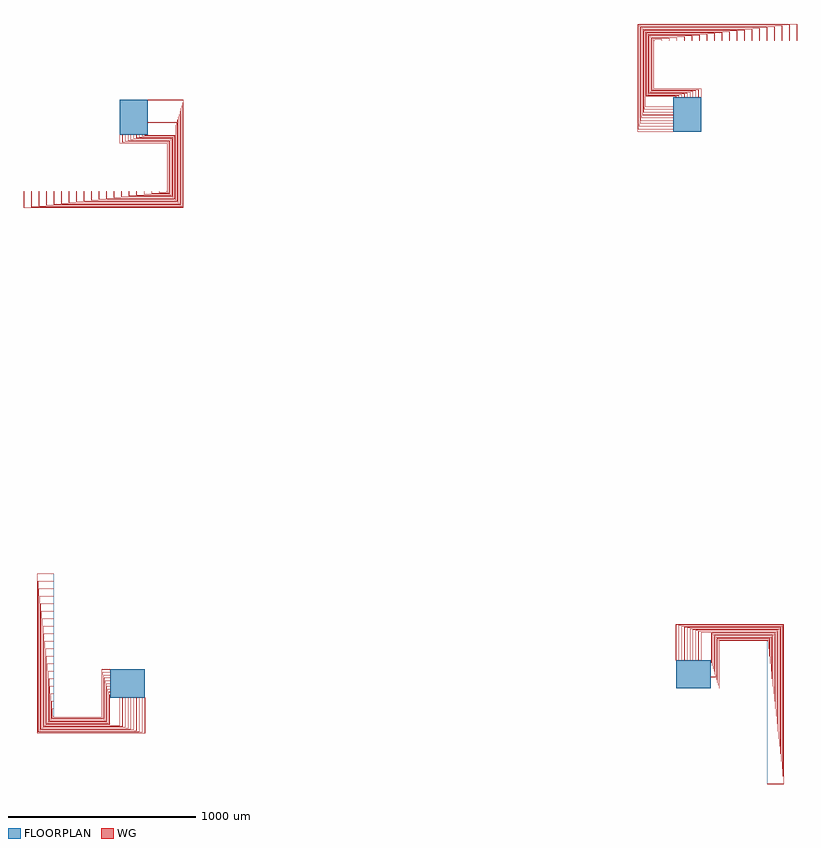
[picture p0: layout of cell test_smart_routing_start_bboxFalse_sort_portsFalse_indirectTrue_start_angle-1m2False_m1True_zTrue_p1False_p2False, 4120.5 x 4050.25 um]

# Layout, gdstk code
import gdstk
lib = gdstk.Library(unit=1e-6, precision=1e-09)
def R(c, l, rs):  # rectangles x0, y0, x1, y1
    for r in rs: c.add(gdstk.rectangle(r[:2], r[2:], *l))
def P(c, l, *ps):  # polygons
    for p in ps: c.add(gdstk.Polygon(p, *l))
WG = (1, 0)
FLOORPLAN = (10, 0)

test_smart_routing_start = lib.new_cell('test_smart_routing_start_bboxFalse_sort_portsFalse_indirectTrue_start_angle-1m2False_m1True_zTrue_p1False_p2False')
P(test_smart_routing_start, WG, [(-404.5,-204.75),(-404.5,-199.75),(-400,-199.75),(-400,-200.25),(-404,-200.25),(-404,-204.25),(-145,-204.25),(-145,50.25),(-100,50.25),(-100,49.75),(-144.5,49.75),(-144.5,-204.75)],
  [(-409,-209.25),(-409,-159.75),(-400,-159.75),(-400,-160.25),(-408.5,-160.25),(-408.5,-208.75),(-140.5,-208.75),(-140.5,35.25),(-100,35.25),(-100,34.75),(-140,34.75),(-140,-209.25)],
  [(-413.5,-213.75),(-413.5,-119.75),(-400,-119.75),(-400,-120.25),(-413,-120.25),(-413,-213.25),(-136,-213.25),(-136,20.25),(-100,20.25),(-100,19.75),(-135.5,19.75),(-135.5,-213.75)],
  [(-418,-218.25),(-418,-79.75),(-400,-79.75),(-400,-80.25),(-417.5,-80.25),(-417.5,-217.75),(-131.5,-217.75),(-131.5,5.25),(-100,5.25),(-100,4.75),(-131,4.75),(-131,-218.25)],
  [(-422.5,-222.75),(-422.5,-39.75),(-400,-39.75),(-400,-40.25),(-422,-40.25),(-422,-222.25),(-127,-222.25),(-127,-9.75),(-100,-9.75),(-100,-10.25),(-126.5,-10.25),(-126.5,-222.75)],
  [(-427,-227.25),(-427,0.25),(-400,0.25),(-400,-0.25),(-426.5,-0.25),(-426.5,-226.75),(-122.5,-226.75),(-122.5,-24.75),(-100,-24.75),(-100,-25.25),(-122,-25.25),(-122,-227.25)],
  [(-431.5,-231.75),(-431.5,40.25),(-400,40.25),(-400,39.75),(-431,39.75),(-431,-231.25),(-118,-231.25),(-118,-39.75),(-100,-39.75),(-100,-40.25),(-117.5,-40.25),(-117.5,-231.75)],
  [(-436,-236.25),(-436,80.25),(-400,80.25),(-400,79.75),(-435.5,79.75),(-435.5,-235.75),(-113.5,-235.75),(-113.5,-54.75),(-100,-54.75),(-100,-55.25),(-113,-55.25),(-113,-236.25)],
  [(-440.5,-240.75),(-440.5,120.25),(-400,120.25),(-400,119.75),(-440,119.75),(-440,-240.25),(-109,-240.25),(-109,-69.75),(-100,-69.75),(-100,-70.25),(-108.5,-70.25),(-108.5,-240.75)],
  [(-445,-245.25),(-445,160.25),(-400,160.25),(-400,159.75),(-444.5,159.75),(-444.5,-244.75),(-104.5,-244.75),(-104.5,-84.75),(-100,-84.75),(-100,-85.25),(-104,-85.25),(-104,-245.25)],
  [(-449.5,-249.75),(-449.5,200.25),(-400,200.25),(-400,199.75),(-449,199.75),(-449,-249.25),(-50.25,-249.25),(-50.25,-100),(-49.75,-100),(-49.75,-249.75)],
  [(-454,-254.25),(-454,240.25),(-400,240.25),(-400,239.75),(-453.5,239.75),(-453.5,-253.75),(-35.25,-253.75),(-35.25,-100),(-34.75,-100),(-34.75,-254.25)],
  [(-458.5,-258.75),(-458.5,280.25),(-400,280.25),(-400,279.75),(-458,279.75),(-458,-258.25),(-20.25,-258.25),(-20.25,-100),(-19.75,-100),(-19.75,-258.75)],
  [(-463,-263.25),(-463,320.25),(-400,320.25),(-400,319.75),(-462.5,319.75),(-462.5,-262.75),(-5.25,-262.75),(-5.25,-100),(-4.75,-100),(-4.75,-263.25)],
  [(-467.5,-267.75),(-467.5,360.25),(-400,360.25),(-400,359.75),(-467,359.75),(-467,-267.25),(9.75,-267.25),(9.75,-100),(10.25,-100),(10.25,-267.75)],
  [(-472,-272.25),(-472,400.25),(-400,400.25),(-400,399.75),(-471.5,399.75),(-471.5,-271.75),(24.75,-271.75),(24.75,-100),(25.25,-100),(25.25,-272.25)],
  [(-476.5,-276.75),(-476.5,440.25),(-400,440.25),(-400,439.75),(-476,439.75),(-476,-276.25),(39.75,-276.25),(39.75,-100),(40.25,-100),(40.25,-276.75)],
  [(-481,-281.25),(-481,480.25),(-400,480.25),(-400,479.75),(-480.5,479.75),(-480.5,-280.75),(54.75,-280.75),(54.75,-100),(55.25,-100),(55.25,-281.25)],
  [(-485.5,-285.75),(-485.5,520.25),(-400,520.25),(-400,519.75),(-485,519.75),(-485,-285.25),(69.75,-285.25),(69.75,-100),(70.25,-100),(70.25,-285.75)],
  [(-490,-290.25),(-490,560.25),(-400,560.25),(-400,559.75),(-489.5,559.75),(-489.5,-289.75),(84.75,-289.75),(84.75,-100),(85.25,-100),(85.25,-290.25)],
  [(199.75,2595.5),(199.75,2600),(200.25,2600),(200.25,2596),(204.25,2596),(204.25,2855),(-50.25,2855),(-50.25,2900),(-49.75,2900),(-49.75,2855.5),(204.75,2855.5),(204.75,2595.5)],
  [(159.75,2591),(159.75,2600),(160.25,2600),(160.25,2591.5),(208.75,2591.5),(208.75,2859.5),(-35.25,2859.5),(-35.25,2900),(-34.75,2900),(-34.75,2860),(209.25,2860),(209.25,2591)],
  [(119.75,2586.5),(119.75,2600),(120.25,2600),(120.25,2587),(213.25,2587),(213.25,2864),(-20.25,2864),(-20.25,2900),(-19.75,2900),(-19.75,2864.5),(213.75,2864.5),(213.75,2586.5)],
  [(79.75,2582),(79.75,2600),(80.25,2600),(80.25,2582.5),(217.75,2582.5),(217.75,2868.5),(-5.25,2868.5),(-5.25,2900),(-4.75,2900),(-4.75,2869),(218.25,2869),(218.25,2582)],
  [(39.75,2577.5),(39.75,2600),(40.25,2600),(40.25,2578),(222.25,2578),(222.25,2873),(9.75,2873),(9.75,2900),(10.25,2900),(10.25,2873.5),(222.75,2873.5),(222.75,2577.5)],
  [(-0.25,2573),(-0.25,2600),(0.25,2600),(0.25,2573.5),(226.75,2573.5),(226.75,2877.5),(24.75,2877.5),(24.75,2900),(25.25,2900),(25.25,2878),(227.25,2878),(227.25,2573)],
  [(-40.25,2568.5),(-40.25,2600),(-39.75,2600),(-39.75,2569),(231.25,2569),(231.25,2882),(39.75,2882),(39.75,2900),(40.25,2900),(40.25,2882.5),(231.75,2882.5),(231.75,2568.5)],
  [(-80.25,2564),(-80.25,2600),(-79.75,2600),(-79.75,2564.5),(235.75,2564.5),(235.75,2886.5),(54.75,2886.5),(54.75,2900),(55.25,2900),(55.25,2887),(236.25,2887),(236.25,2564)],
  [(-120.25,2559.5),(-120.25,2600),(-119.75,2600),(-119.75,2560),(240.25,2560),(240.25,2891),(69.75,2891),(69.75,2900),(70.25,2900),(70.25,2891.5),(240.75,2891.5),(240.75,2559.5)],
  [(-160.25,2555),(-160.25,2600),(-159.75,2600),(-159.75,2555.5),(244.75,2555.5),(244.75,2895.5),(84.75,2895.5),(84.75,2900),(85.25,2900),(85.25,2896),(245.25,2896),(245.25,2555)],
  [(-200.25,2550.5),(-200.25,2600),(-199.75,2600),(-199.75,2551),(249.25,2551),(249.25,2949.75),(100,2949.75),(100,2950.25),(249.75,2950.25),(249.75,2550.5)],
  [(-240.25,2546),(-240.25,2600),(-239.75,2600),(-239.75,2546.5),(253.75,2546.5),(253.75,2964.75),(100,2964.75),(100,2965.25),(254.25,2965.25),(254.25,2546)],
  [(-280.25,2541.5),(-280.25,2600),(-279.75,2600),(-279.75,2542),(258.25,2542),(258.25,2979.75),(100,2979.75),(100,2980.25),(258.75,2980.25),(258.75,2541.5)],
  [(-320.25,2537),(-320.25,2600),(-319.75,2600),(-319.75,2537.5),(262.75,2537.5),(262.75,2994.75),(100,2994.75),(100,2995.25),(263.25,2995.25),(263.25,2537)],
  [(-360.25,2532.5),(-360.25,2600),(-359.75,2600),(-359.75,2533),(267.25,2533),(267.25,3009.75),(100,3009.75),(100,3010.25),(267.75,3010.25),(267.75,2532.5)],
  [(-400.25,2528),(-400.25,2600),(-399.75,2600),(-399.75,2528.5),(271.75,2528.5),(271.75,3024.75),(100,3024.75),(100,3025.25),(272.25,3025.25),(272.25,2528)],
  [(-440.25,2523.5),(-440.25,2600),(-439.75,2600),(-439.75,2524),(276.25,2524),(276.25,3039.75),(100,3039.75),(100,3040.25),(276.75,3040.25),(276.75,2523.5)],
  [(-480.25,2519),(-480.25,2600),(-479.75,2600),(-479.75,2519.5),(280.75,2519.5),(280.75,3054.75),(100,3054.75),(100,3055.25),(281.25,3055.25),(281.25,2519)],
  [(-520.25,2514.5),(-520.25,2600),(-519.75,2600),(-519.75,2515),(285.25,2515),(285.25,3069.75),(100,3069.75),(100,3070.25),(285.75,3070.25),(285.75,2514.5)],
  [(-560.25,2510),(-560.25,2600),(-559.75,2600),(-559.75,2510.5),(289.75,2510.5),(289.75,3084.75),(100,3084.75),(100,3085.25),(290.25,3085.25),(290.25,2510)],
  [(3100,-50.25),(3100,-49.75),(3144.5,-49.75),(3144.5,204.75),(3404.5,204.75),(3404.5,199.75),(3400,199.75),(3400,200.25),(3404,200.25),(3404,204.25),(3145,204.25),(3145,-50.25)],
  [(3100,-35.25),(3100,-34.75),(3140,-34.75),(3140,209.25),(3409,209.25),(3409,159.75),(3400,159.75),(3400,160.25),(3408.5,160.25),(3408.5,208.75),(3140.5,208.75),(3140.5,-35.25)],
  [(3100,-20.25),(3100,-19.75),(3135.5,-19.75),(3135.5,213.75),(3413.5,213.75),(3413.5,119.75),(3400,119.75),(3400,120.25),(3413,120.25),(3413,213.25),(3136,213.25),(3136,-20.25)],
  [(3100,-5.25),(3100,-4.75),(3131,-4.75),(3131,218.25),(3418,218.25),(3418,79.75),(3400,79.75),(3400,80.25),(3417.5,80.25),(3417.5,217.75),(3131.5,217.75),(3131.5,-5.25)],
  [(3100,9.75),(3100,10.25),(3126.5,10.25),(3126.5,222.75),(3422.5,222.75),(3422.5,39.75),(3400,39.75),(3400,40.25),(3422,40.25),(3422,222.25),(3127,222.25),(3127,9.75)],
  [(3400,-0.25),(3400,0.25),(3426.5,0.25),(3426.5,226.75),(3122.5,226.75),(3122.5,24.75),(3100,24.75),(3100,25.25),(3122,25.25),(3122,227.25),(3427,227.25),(3427,-0.25)],
  [(3400,-40.25),(3400,-39.75),(3431,-39.75),(3431,231.25),(3118,231.25),(3118,39.75),(3100,39.75),(3100,40.25),(3117.5,40.25),(3117.5,231.75),(3431.5,231.75),(3431.5,-40.25)],
  [(3400,-80.25),(3400,-79.75),(3435.5,-79.75),(3435.5,235.75),(3113.5,235.75),(3113.5,54.75),(3100,54.75),(3100,55.25),(3113,55.25),(3113,236.25),(3436,236.25),(3436,-80.25)],
  [(3400,-120.25),(3400,-119.75),(3440,-119.75),(3440,240.25),(3109,240.25),(3109,69.75),(3100,69.75),(3100,70.25),(3108.5,70.25),(3108.5,240.75),(3440.5,240.75),(3440.5,-120.25)],
  [(3400,-160.25),(3400,-159.75),(3444.5,-159.75),(3444.5,244.75),(3104.5,244.75),(3104.5,84.75),(3100,84.75),(3100,85.25),(3104,85.25),(3104,245.25),(3445,245.25),(3445,-160.25)],
  [(3400,-200.25),(3400,-199.75),(3449,-199.75),(3449,249.25),(3050.25,249.25),(3050.25,100),(3049.75,100),(3049.75,249.75),(3449.5,249.75),(3449.5,-200.25)],
  [(3400,-240.25),(3400,-239.75),(3453.5,-239.75),(3453.5,253.75),(3035.25,253.75),(3035.25,100),(3034.75,100),(3034.75,254.25),(3454,254.25),(3454,-240.25)],
  [(3400,-280.25),(3400,-279.75),(3458,-279.75),(3458,258.25),(3020.25,258.25),(3020.25,100),(3019.75,100),(3019.75,258.75),(3458.5,258.75),(3458.5,-280.25)],
  [(3400,-320.25),(3400,-319.75),(3462.5,-319.75),(3462.5,262.75),(3005.25,262.75),(3005.25,100),(3004.75,100),(3004.75,263.25),(3463,263.25),(3463,-320.25)],
  [(3400,-360.25),(3400,-359.75),(3467,-359.75),(3467,267.25),(2990.25,267.25),(2990.25,100),(2989.75,100),(2989.75,267.75),(3467.5,267.75),(3467.5,-360.25)],
  [(3400,-400.25),(3400,-399.75),(3471.5,-399.75),(3471.5,271.75),(2975.25,271.75),(2975.25,100),(2974.75,100),(2974.75,272.25),(3472,272.25),(3472,-400.25)],
  [(3400,-440.25),(3400,-439.75),(3476,-439.75),(3476,276.25),(2960.25,276.25),(2960.25,100),(2959.75,100),(2959.75,276.75),(3476.5,276.75),(3476.5,-440.25)],
  [(3400,-480.25),(3400,-479.75),(3480.5,-479.75),(3480.5,280.75),(2945.25,280.75),(2945.25,100),(2944.75,100),(2944.75,281.25),(3481,281.25),(3481,-480.25)],
  [(3400,-520.25),(3400,-519.75),(3485,-519.75),(3485,285.25),(2930.25,285.25),(2930.25,100),(2929.75,100),(2929.75,285.75),(3485.5,285.75),(3485.5,-520.25)],
  [(3400,-560.25),(3400,-559.75),(3489.5,-559.75),(3489.5,289.75),(2915.25,289.75),(2915.25,100),(2914.75,100),(2914.75,290.25),(3490,290.25),(3490,-560.25)],
  [(3049.75,3100),(3049.75,3144.5),(2795.25,3144.5),(2795.25,3404.5),(2800.25,3404.5),(2800.25,3400),(2799.75,3400),(2799.75,3404),(2795.75,3404),(2795.75,3145),(3050.25,3145),(3050.25,3100)],
  [(3034.75,3100),(3034.75,3140),(2790.75,3140),(2790.75,3409),(2840.25,3409),(2840.25,3400),(2839.75,3400),(2839.75,3408.5),(2791.25,3408.5),(2791.25,3140.5),(3035.25,3140.5),(3035.25,3100)],
  [(3019.75,3100),(3019.75,3135.5),(2786.25,3135.5),(2786.25,3413.5),(2880.25,3413.5),(2880.25,3400),(2879.75,3400),(2879.75,3413),(2786.75,3413),(2786.75,3136),(3020.25,3136),(3020.25,3100)],
  [(3004.75,3100),(3004.75,3131),(2781.75,3131),(2781.75,3418),(2920.25,3418),(2920.25,3400),(2919.75,3400),(2919.75,3417.5),(2782.25,3417.5),(2782.25,3131.5),(3005.25,3131.5),(3005.25,3100)],
  [(2989.75,3100),(2989.75,3126.5),(2777.25,3126.5),(2777.25,3422.5),(2960.25,3422.5),(2960.25,3400),(2959.75,3400),(2959.75,3422),(2777.75,3422),(2777.75,3127),(2990.25,3127),(2990.25,3100)],
  [(2974.75,3100),(2974.75,3122),(2772.75,3122),(2772.75,3427),(3000.25,3427),(3000.25,3400),(2999.75,3400),(2999.75,3426.5),(2773.25,3426.5),(2773.25,3122.5),(2975.25,3122.5),(2975.25,3100)],
  [(2959.75,3100),(2959.75,3117.5),(2768.25,3117.5),(2768.25,3431.5),(3040.25,3431.5),(3040.25,3400),(3039.75,3400),(3039.75,3431),(2768.75,3431),(2768.75,3118),(2960.25,3118),(2960.25,3100)],
  [(2944.75,3100),(2944.75,3113),(2763.75,3113),(2763.75,3436),(3080.25,3436),(3080.25,3400),(3079.75,3400),(3079.75,3435.5),(2764.25,3435.5),(2764.25,3113.5),(2945.25,3113.5),(2945.25,3100)],
  [(2929.75,3100),(2929.75,3108.5),(2759.25,3108.5),(2759.25,3440.5),(3120.25,3440.5),(3120.25,3400),(3119.75,3400),(3119.75,3440),(2759.75,3440),(2759.75,3109),(2930.25,3109),(2930.25,3100)],
  [(2914.75,3100),(2914.75,3104),(2754.75,3104),(2754.75,3445),(3160.25,3445),(3160.25,3400),(3159.75,3400),(3159.75,3444.5),(2755.25,3444.5),(2755.25,3104.5),(2915.25,3104.5),(2915.25,3100)],
  [(2750.25,3049.75),(2750.25,3449.5),(3200.25,3449.5),(3200.25,3400),(3199.75,3400),(3199.75,3449),(2750.75,3449),(2750.75,3050.25),(2900,3050.25),(2900,3049.75)],
  [(2745.75,3034.75),(2745.75,3454),(3240.25,3454),(3240.25,3400),(3239.75,3400),(3239.75,3453.5),(2746.25,3453.5),(2746.25,3035.25),(2900,3035.25),(2900,3034.75)],
  [(2741.25,3019.75),(2741.25,3458.5),(3280.25,3458.5),(3280.25,3400),(3279.75,3400),(3279.75,3458),(2741.75,3458),(2741.75,3020.25),(2900,3020.25),(2900,3019.75)],
  [(2736.75,3004.75),(2736.75,3463),(3320.25,3463),(3320.25,3400),(3319.75,3400),(3319.75,3462.5),(2737.25,3462.5),(2737.25,3005.25),(2900,3005.25),(2900,3004.75)],
  [(2732.25,2989.75),(2732.25,3467.5),(3360.25,3467.5),(3360.25,3400),(3359.75,3400),(3359.75,3467),(2732.75,3467),(2732.75,2990.25),(2900,2990.25),(2900,2989.75)],
  [(2727.75,2974.75),(2727.75,3472),(3400.25,3472),(3400.25,3400),(3399.75,3400),(3399.75,3471.5),(2728.25,3471.5),(2728.25,2975.25),(2900,2975.25),(2900,2974.75)],
  [(2723.25,2959.75),(2723.25,3476.5),(3440.25,3476.5),(3440.25,3400),(3439.75,3400),(3439.75,3476),(2723.75,3476),(2723.75,2960.25),(2900,2960.25),(2900,2959.75)],
  [(2718.75,2944.75),(2718.75,3481),(3480.25,3481),(3480.25,3400),(3479.75,3400),(3479.75,3480.5),(2719.25,3480.5),(2719.25,2945.25),(2900,2945.25),(2900,2944.75)],
  [(2714.25,2929.75),(2714.25,3485.5),(3520.25,3485.5),(3520.25,3400),(3519.75,3400),(3519.75,3485),(2714.75,3485),(2714.75,2930.25),(2900,2930.25),(2900,2929.75)],
  [(2709.75,2914.75),(2709.75,3490),(3560.25,3490),(3560.25,3400),(3559.75,3400),(3559.75,3489.5),(2710.25,3489.5),(2710.25,2915.25),(2900,2915.25),(2900,2914.75)])
R(test_smart_routing_start, FLOORPLAN, [(-100,-100,85,50), (2915,-50,3100,100), (-50,2900,100,3085), (2900,2915,3050,3100)])
P(test_smart_routing_start, FLOORPLAN, [(-400,-200),(-400,560),(-400,560),(-400,-200)],
  [(-560,2600),(-560,2600),(200,2600),(200,2600)],
  [(3400,-560),(3400,200),(3400,200),(3400,-560)],
  [(2800,3400),(2800,3400),(3560,3400),(3560,3400)])

lib.write_gds('test_smart_routing_start_bboxFalse_sort_portsFalse_indirectTrue_start_angle-1m2False_m1True_zTrue_p1False_p2False.gds')
